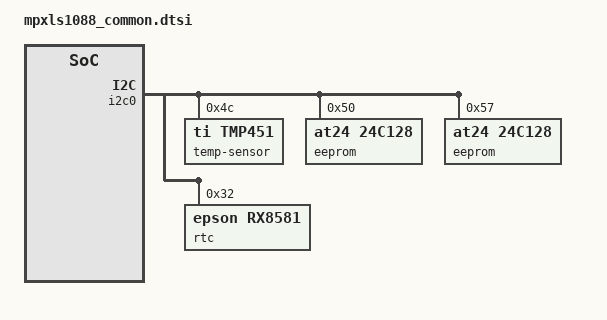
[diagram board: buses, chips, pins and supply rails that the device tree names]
// SPDX-License-Identifier: (GPL-2.0+ OR MIT)
/*
 * Device Tree file for MPXLS1088 modules.
 *
 * Copyright 2018 MicroSys Electronics GmbH
 *
 * Kay Potthoff <Kay.Potthoff@microsys.de>
 *
 */

#include "mpxls10xx_common.dtsi"

&soc {
	mdio0: mdio@8b96000 {};
	mdio1: mdio@8b97000 {};
};

&i2c0 {
	status = "okay";

	temp-sensor@4c {
		compatible = "ti,tmp451";
	        reg = <0x4c>;
	        extended-mode; // switch to extended temperature range from [-64..191]
		#limit-cells = <4>;
		limits = <0x00 0xff 0xa4 0x8b>, // Local Temp.:  <-64 191 100 75>
		         <0x00 0xff 0xff 0x00>; // Remote Temp.: <-64 191 120 0>
	};

	eeprom@50 {
		compatible = "at24,24c128";
		reg = <0x50>;
	};

	eeprom@57 {
		compatible = "at24,24c128";
		reg = <0x57>;
	};

	rtc@32 {
		compatible = "epson,rx8581";
		reg = <0x32>;
	};
};

&ifc {
	ranges = <0 0 0x5 0x30000000 0x00010000
			  2 0 0x5 0x20000000 0x00010000>;
};

&nand0 {
		partition@0 {
			reg = <0x0 0x20000000>;
			label = "rootfs";
		};
};

&qflash0 {
		partition@0 {
			reg = <0x0 0x2000>;
			label = "rcw";
		};
		partition@1 {
			reg = <0x2000 0x2000>;
			label = "env";
		};
		partition@2 {
			reg = <0x4000 0x2000>;
			label = "dpc";
		};
		partition@3 {
			reg = <0x6000 0x2000>;
			label = "dpl";
		};
		partition@4 {
			reg = <0x8000 0xe000>;
			label = "ppa";
		};
		partition@5 {
			reg = <0x100000 0x100000>;
			label = "u-boot";
		};
		partition@6 {
			reg = <0x300000 0x200000>;
			label = "mc";
		};
		partition@7 {
			reg = <0x500000 0xb00000>;
			label = "kernel";
		};
};

&esdhc {
	max-frequency = <20000000>;
};
